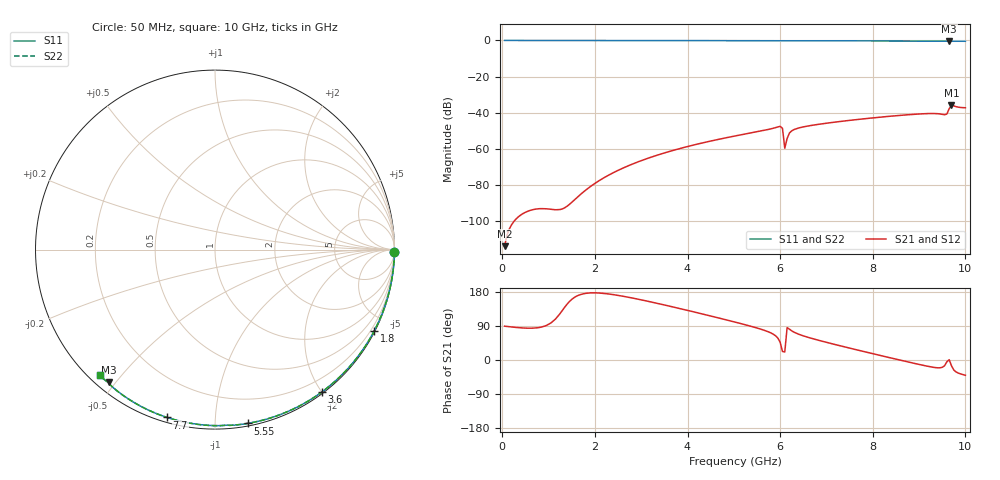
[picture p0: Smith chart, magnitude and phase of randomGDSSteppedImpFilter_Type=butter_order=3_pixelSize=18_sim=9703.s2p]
! freq	dB(S11)	phase(S11)	dB(S12)	phase(S12)
!  dB(S21)	phase(S21)	dB(S22)	phase(S22)
!S-par simulation data
#  GHz  S  DB  R 50
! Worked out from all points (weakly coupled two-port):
!   200 points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, 50 MHz to 10 GHz, reference 50 ohm
!   highest |S21| = -35.94 dB at 9.7 GHz (marker M1); lowest = -114.0 dB at 50 MHz (marker M2)
!   lowest |S11| = -0.5 dB at 9.65 GHz (marker M3), VSWR 36.93, Z = 1.67 - j24 ohm
!   |S11| at or under -10 dB: nowhere
!   |S22| runs from -0.5 to 0.0 dB; largest |S21 - S12| = 0
!   S11 on the Smith chart (normalised r, x): 50 MHz: open; 1.8 GHz: 0.04, -4.14; 3.6 GHz: 0.02, -2.00; 5.55 GHz: 0.02, -1.20; 7.7 GHz: 0.02, -0.75; 10 GHz: 0.03, -0.44
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0.05  -0.00 -0.8  -114.03 89.3  -114.03 89.3  -0.00 -0.8
1.75  -0.03 -26.4  -84.03 174.7  -84.03 174.7  -0.03 -26.4
1.8  -0.03 -27.2  -82.98 175.8  -82.98 175.8  -0.03 -27.2
1.95  -0.04 -29.4  -80.11 177.2  -80.11 177.2  -0.04 -29.4
2.55  -0.05 -38.2  -71.40 169.5  -71.40 169.5  -0.05 -38.2
3.4  -0.07 -50.3  -63.14 148.0  -63.14 148.0  -0.07 -50.3
3.6  -0.07 -53.2  -61.59 142.4  -61.59 142.4  -0.07 -53.2
5.05  -0.11 -72.8  -52.83 99.3  -52.83 99.3  -0.11 -72.8
5.55  -0.13 -79.4  -50.36 82.6  -50.36 82.6  -0.13 -79.4
6  -0.15 -85.2  -47.60 46.8  -47.60 46.8  -0.15 -85.2
6.05  -0.17 -85.9  -48.68 22.6  -48.68 22.6  -0.17 -85.9
6.1  -0.18 -86.3  -59.74 21.2  -59.74 21.2  -0.18 -86.3
6.15  -0.17 -86.9  -54.38 85.5  -54.38 85.5  -0.17 -86.9
6.25  -0.16 -88.2  -50.09 76.9  -50.09 76.9  -0.16 -88.2
6.7  -0.18 -93.8  -46.99 56.4  -46.99 56.4  -0.18 -93.8
7.7  -0.24 -105.9  -43.72 25.4  -43.72 25.4  -0.24 -105.9
8.35  -0.29 -113.6  -42.06 6.5  -42.06 6.5  -0.29 -113.6
9.55  -0.41 -127.6  -41.19 -15.2  -41.19 -15.2  -0.41 -127.6
9.6  -0.43 -128.2  -40.76 -4.8  -40.76 -4.8  -0.44 -128.2
9.65  -0.47 -128.6  -37.80 0.8  -37.80 0.8  -0.47 -128.6
9.7  -0.46 -128.9  -35.94 -15.2  -35.94 -15.2  -0.46 -128.9
10  -0.45 -132.4  -37.32 -40.3  -37.32 -40.3  -0.45 -132.4
